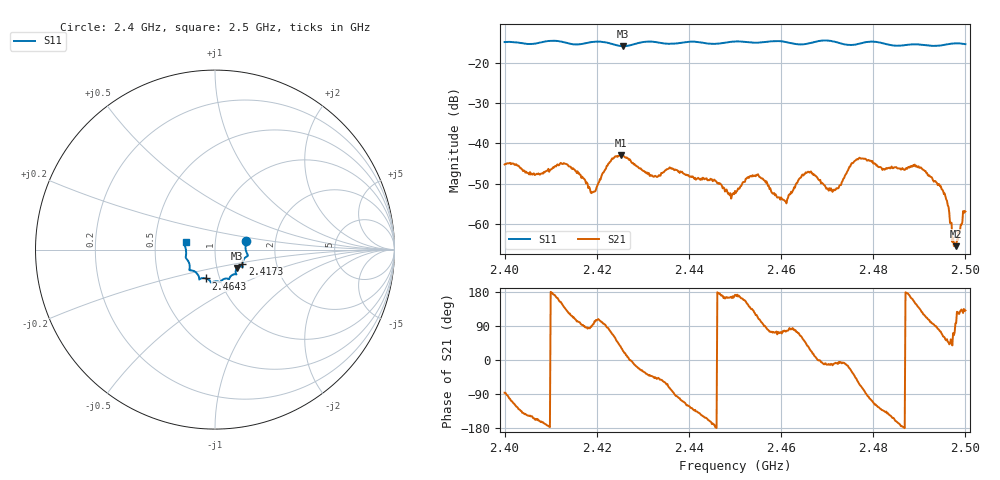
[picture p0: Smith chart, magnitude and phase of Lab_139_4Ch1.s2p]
# Hz S RI R 50
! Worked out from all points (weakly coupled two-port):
!   601 points, 2.4 GHz to 2.5 GHz, reference 50 ohm
!   highest |S21| = -42.90 dB at 2.4253 GHz (marker M1); lowest = -65.5 dB at 2.498 GHz (marker M2)
!   lowest |S11| = -15.9 dB at 2.4257 GHz (marker M3), VSWR 1.38, Z = 62.5 - j13.1 ohm
!   |S11| at or under -10 dB: start of sweep to end of sweep
!   S12 and S22 are empty: the file has one direction only
!   S11 on the Smith chart (normalised r, x): 2.4 GHz: 1.41, +0.14; 2.4173 GHz: 1.34, -0.23; 2.4643 GHz: 0.86, -0.28; 2.5 GHz: 0.72, +0.06
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2.4e9  0.173 0.0494  0.000352 -0.00545  0 0  0 0
2.412667e9  0.176 -0.0391  -0.00449 0.00327  0 0  0 0
2.416667e9  0.1529 -0.0744  -0.000217 0.00371  0 0  0 0
2.417333e9  0.1525 -0.0819  3.31e-05 0.00359  0 0  0 0
2.419333e9  0.1537 -0.096  -0.000227 0.0025  0 0  0 0
2.425333e9  0.1254 -0.1  0.0061 0.00374  0 0  0 0
2.425667e9  0.1229 -0.1023  0.00641 0.00292  0 0  0 0
2.433333e9  0.1132 -0.137  0.00266 -0.00286  0 0  0 0
2.436167e9  0.0928 -0.1437  0.000917 -0.00484  0 0  0 0
2.45e9  0.0296 -0.1809  -0.00254 0.000359  0 0  0 0
2.454667e9  0.00485 -0.1766  -0.00196 0.00355  0 0  0 0
2.460833e9  -0.0257 -0.1791  0.000426 0.00187  0 0  0 0
2.464333e9  -0.0498 -0.1607  0.00171 0.00336  0 0  0 0
2.466667e9  -0.0758 -0.1598  0.00391 0.00157  0 0  0 0
2.471167e9  -0.0873 -0.1623  0.00243 -0.000604  0 0  0 0
2.476667e9  -0.1235 -0.1172  0.00345 -0.00527  0 0  0 0
2.483333e9  -0.1409 -0.0901  -0.00393 -0.00302  0 0  0 0
2.489333e9  -0.163 -0.0442  -0.00443 0.00288  0 0  0 0
2.494167e9  -0.162 0.000264  0.000482 0.00308  0 0  0 0
2.495833e9  -0.1668 0.0179  0.00124 0.00159  0 0  0 0
2.498e9  -0.1709 0.0315  -7.06e-05 0.000525  0 0  0 0
2.5e9  -0.1639 0.0425  -0.00093 0.00108  0 0  0 0
